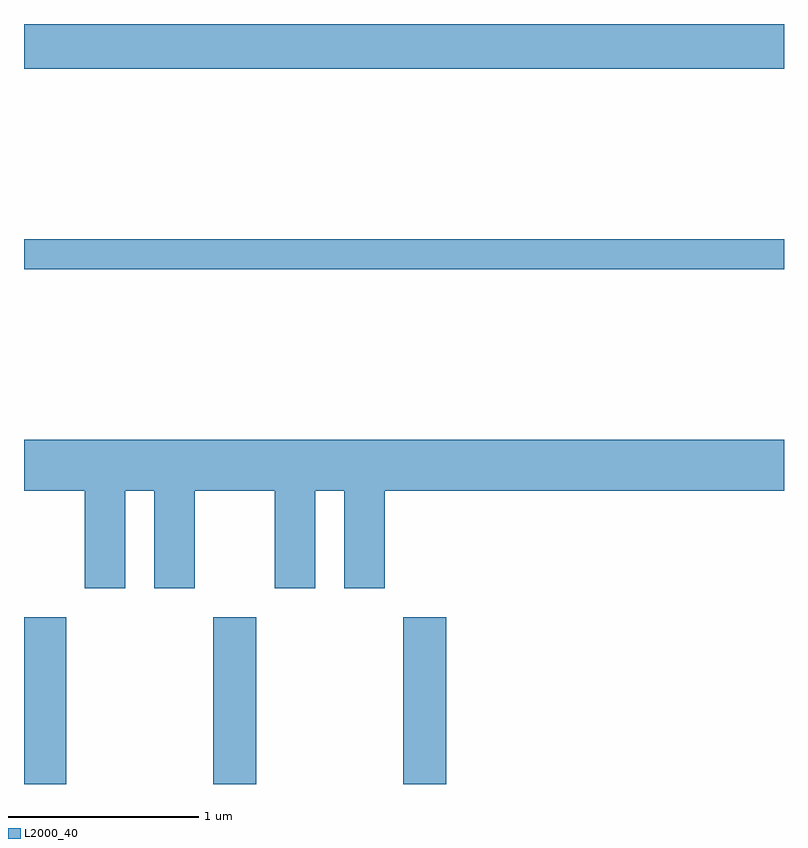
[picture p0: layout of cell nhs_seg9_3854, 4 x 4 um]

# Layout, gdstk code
import gdstk
lib = gdstk.Library(unit=1e-6, precision=1e-09)
def R(c, l, rs):  # rectangles x0, y0, x1, y1
    for r in rs: c.add(gdstk.rectangle(r[:2], r[2:], *l))
def P(c, l, *ps):  # polygons
    for p in ps: c.add(gdstk.Polygon(p, *l))
L2000_40 = (2000, 40)

nhs_seg9_3854 = lib.new_cell('nhs_seg9_3854')
R(nhs_seg9_3854, L2000_40, [(297.611,2052.432,297.834,2053.309), (298.606,2052.432,298.834,2053.309), (299.606,2052.432,299.834,2053.309), (297.611,2055.141,301.611,2055.299), (297.611,2056.196,301.611,2056.432)])
P(nhs_seg9_3854, L2000_40, [(298.144,2053.976),(298.296,2053.976),(298.296,2053.461),(298.509,2053.461),(298.509,2053.976),(298.931,2053.976),(298.931,2053.461),(299.144,2053.461),(299.144,2053.976),(299.296,2053.976),(299.296,2053.461),(299.509,2053.461),(299.509,2053.976),(301.611,2053.976),(301.611,2054.244),(297.611,2054.244),(297.611,2053.976),(297.931,2053.976),(297.931,2053.461),(298.144,2053.461)])

lib.write_gds('nhs_seg9_3854.gds')
